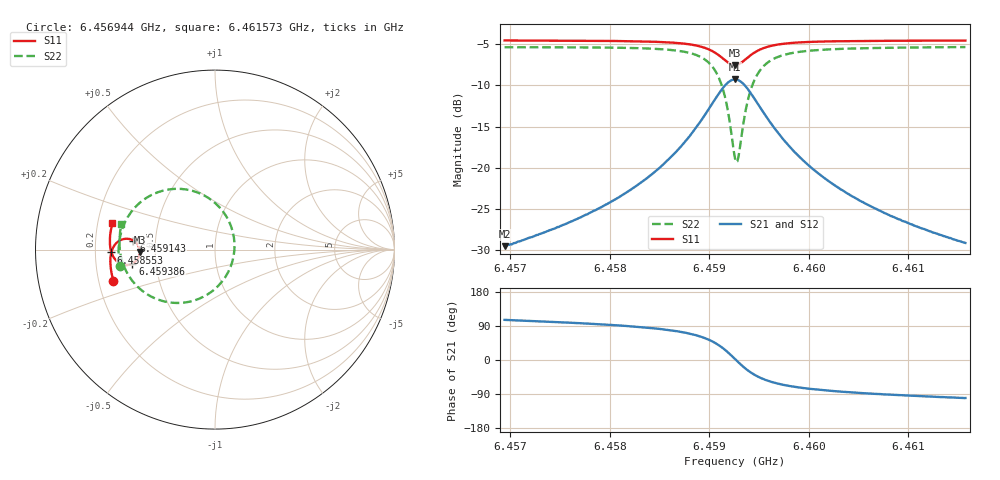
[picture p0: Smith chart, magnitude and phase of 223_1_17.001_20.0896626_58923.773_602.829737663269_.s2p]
#  HZ  S  RI  R  50.00
! Rohde & Schwarz Vector Network Analyzer
! Rohde-Schwarz,ZNB20-2Port,1311601062101988,3.16
! Created: UTC 3/20/2024, 11:02:03 PM
! freq[Hz]  re:S11  im:S11  re:S21  im:S21  re:S12  im:S12  re:S22  im:S22
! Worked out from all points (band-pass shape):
!   401 points, 6.456944 GHz to 6.461573 GHz, reference 50 ohm
!   highest |S21| = -9.28 dB at 6.459259 GHz (marker M1); lowest = -29.5 dB at 6.456944 GHz (marker M2)
!   |S21| within 3 dB of the highest: 6.459026 GHz to 6.45949 GHz (463.7 kHz wide, 0.00718 % of centre)
!   lowest |S11| = -7.6 dB at 6.459259 GHz (marker M3), VSWR 2.44, Z = 20.5 - j0.618 ohm
!   |S11| at or under -10 dB: nowhere
!   |S22| runs from -19.3 to -5.4 dB; largest |S21 - S12| = 0.013
!   S11 on the Smith chart (normalised r, x): 6.456944 GHz: 0.26, -0.14; 6.458553 GHz: 0.27, -0.01; 6.459143 GHz: 0.37, +0.05; 6.459386 GHz: 0.37, -0.07; 6.461573 GHz: 0.26, +0.12
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6.4569443e9  -0.5655 -0.1757  -0.00917 0.0322  -0.00739 0.0322  -0.5309 -0.0913
6.4577196e9  -0.58 -0.1081  -0.00605 0.0501  -0.00346 0.0495  -0.5374 -0.000895
6.458171e9  -0.5832 -0.0628  0.000368 0.071  0.0036 0.0696  -0.5289 0.071
6.458495e9  -0.5796 -0.024  0.0134 0.0984  0.0175 0.0958  -0.5052 0.1447
6.4585529e9  -0.5779 -0.0161  0.0179 0.1053  0.0218 0.1023  -0.4971 0.1614
6.4587612e9  -0.565 0.0161  0.0449 0.1377  0.0491 0.1328  -0.4462 0.2344
6.4589116e9  -0.5425 0.0426  0.09 0.1684  0.0933 0.1618  -0.3635 0.2992
6.4590505e9  -0.4989 0.0603  0.1768 0.1852  0.1778 0.1779  -0.2051 0.3387
6.4591431e9  -0.4545 0.0502  0.2665 0.1543  0.2667 0.1485  -0.039 0.2893
6.4591894e9  -0.4335 0.0314  0.3101 0.1117  0.3113 0.1066  0.0436 0.2136
6.4592588e9  -0.4188 -0.0124  0.3432 0.0155  0.3469 0.00862  0.1086 0.035
6.4592704e9  -0.4191 -0.0204  0.3431 -0.00215  0.3469 -0.00968  0.1083 0.00168
6.4592935e9  -0.4226 -0.0359  0.3378 -0.0366  0.3414 -0.0456  0.0976 -0.0637
6.4593398e9  -0.438 -0.0618  0.3095 -0.0962  0.3118 -0.1079  0.0407 -0.1762
6.4593861e9  -0.46 -0.0781  0.268 -0.1372  0.2672 -0.1501  -0.0432 -0.2508
6.4594787e9  -0.5031 -0.0848  0.1838 -0.1684  0.1779 -0.1798  -0.2105 -0.2973
6.4596292e9  -0.5468 -0.0645  0.0965 -0.1552  0.0882 -0.1613  -0.3771 -0.2493
6.4597912e9  -0.5682 -0.0369  0.0519 -0.1278  0.0444 -0.1306  -0.4575 -0.1783
6.4600342e9  -0.581 -0.00139  0.0228 -0.0964  0.0169 -0.0972  -0.5058 -0.0964
6.4603698e9  -0.5856 0.0384  0.0069 -0.0707  0.00292 -0.0702  -0.5273 -0.0197
6.4608096e9  -0.5839 0.0825  -0.00108 -0.0516  -0.00404 -0.0507  -0.5323 0.0507
6.4615734e9  -0.5717 0.1502  -0.00625 -0.0344  -0.00801 -0.0335  -0.5215 0.1406
